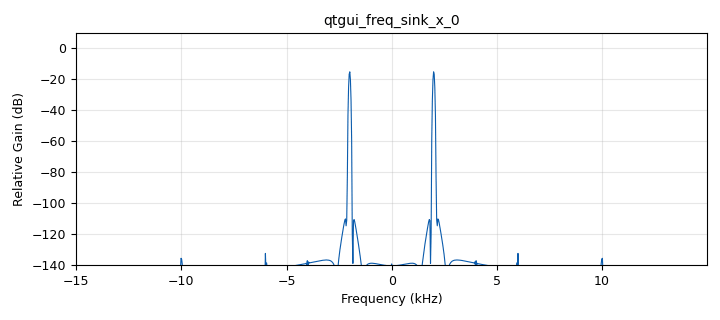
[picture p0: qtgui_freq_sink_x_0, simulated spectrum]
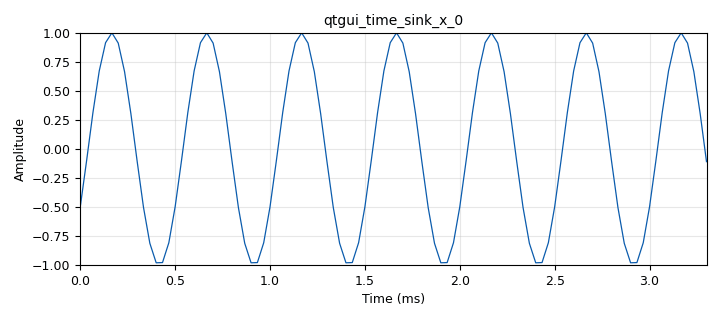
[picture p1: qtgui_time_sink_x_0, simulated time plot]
options:
  parameters:
    author: Elian Calderon - Michael
    copyright: uis-e3t
    description: Programa diseñeado para comprender el funcionamiento de Gnuradio
    generate_options: qt_gui
    id: Practica1FrecuenciaMuestreoL1A
    output_language: python
    title: Frecuencia de Muestro L1A
  states: {}

blocks:
- name: freq
  id: variable_qtgui_range
  parameters:
    label: Frecuencia de la señal coseno
    orient: Qt.Horizontal
    start: '1000'
    step: '1000'
    stop: '40000'
    value: '2000'
  states: {}
- name: samp_rate
  id: variable
  parameters:
    value: '30000'
  states: {}
- name: analog_sig_source_x_0
  id: analog_sig_source_x
  parameters:
    amp: '1'
    freq: freq
    offset: '0'
    phase: '0'
    samp_rate: samp_rate
    type: float
    waveform: analog.GR_COS_WAVE
  states: {}
- name: blocks_throttle_0
  id: blocks_throttle
  parameters:
    samples_per_second: samp_rate
    type: float
  states: {}
- name: qtgui_freq_sink_x_0
  id: qtgui_freq_sink_x
  parameters:
    bw: samp_rate
    fc: '0'
    fftsize: '1024'
    type: float
    wintype: firdes.WIN_BLACKMAN_hARRIS
  states: {}
- name: qtgui_time_sink_x_0
  id: qtgui_time_sink_x
  parameters:
    size: '100'
    srate: samp_rate
    type: float
  states: {}

connections:
- [analog_sig_source_x_0, '0', blocks_throttle_0, '0']
- [blocks_throttle_0, '0', qtgui_freq_sink_x_0, '0']
- [blocks_throttle_0, '0', qtgui_time_sink_x_0, '0']

metadata:
  file_format: 1
